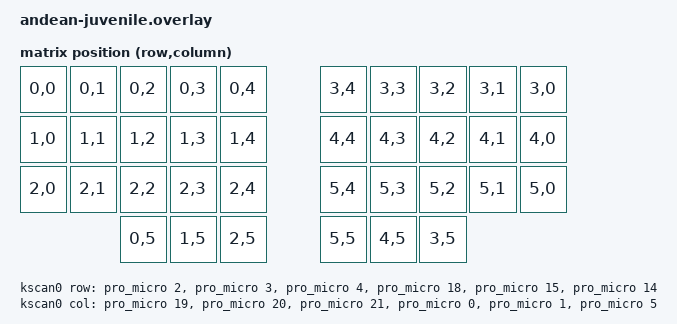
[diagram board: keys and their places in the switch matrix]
/*
 * Copyright (c) 2023 The ZMK Contributors
 *
 * SPDX-License-Identifier: MIT
 */

#include <dt-bindings/zmk/matrix_transform.h>

/*
      col1 col2 col3 col4 col5    |   col5 col4 col3 col2 col1
row1    *    *    *    *    *     |     *    *    *    *    *    row4
row2    *    *    *    *    *     |     *    *    *    *    *    row5
row3    *    *    *    *    *     |     *    *    *    *    *    row6

                row1 row2 row3    |   row6 row5 row4
col6              *    *    *     |     *    *    *


*/

/ {
    chosen {
        zmk,kscan = &kscan0;
        zmk,matrix_transform = &default_transform;
    };

    default_transform: keymap_transform_0 {
        compatible = "zmk,matrix-transform";
        columns = <12>;
        rows = <6>;
        map = <
            RC(0,0) RC(0,1) RC(0,2) RC(0,3) RC(0,4)      RC(3,4) RC(3,3) RC(3,2) RC(3,1) RC(3,0)
            RC(1,0) RC(1,1) RC(1,2) RC(1,3) RC(1,4)      RC(4,4) RC(4,3) RC(4,2) RC(4,1) RC(4,0)
            RC(2,0) RC(2,1) RC(2,2) RC(2,3) RC(2,4)      RC(5,4) RC(5,3) RC(5,2) RC(5,1) RC(5,0)
                            RC(0,5) RC(1,5) RC(2,5)      RC(5,5) RC(4,5) RC(3,5)
        >;
    };

    kscan0: kscan_0 {
        compatible = "zmk,kscan-gpio-matrix";
        diode-direction = "col2row";
/*
 col5  1   .
 col4  0   .
       .   .
       .   .
 row1  2   21 col3
 row2  3   20 col2
 row3  4   19 col1
 col6  5   18 row4
 ----  6   15 row5
 ----  7   14 row6
 ----  8   16 SCL
   CS  9   10 SDA
*/

        col-gpios
            = <&pro_micro 19 GPIO_ACTIVE_HIGH>
            , <&pro_micro 20 GPIO_ACTIVE_HIGH>
            , <&pro_micro 21 GPIO_ACTIVE_HIGH>
            , <&pro_micro  0 GPIO_ACTIVE_HIGH>
            , <&pro_micro  1 GPIO_ACTIVE_HIGH>
            , <&pro_micro  5 GPIO_ACTIVE_HIGH>
            ;

        row-gpios
            = <&pro_micro  2 (GPIO_ACTIVE_HIGH | GPIO_PULL_DOWN)>
            , <&pro_micro  3 (GPIO_ACTIVE_HIGH | GPIO_PULL_DOWN)>
            , <&pro_micro  4 (GPIO_ACTIVE_HIGH | GPIO_PULL_DOWN)>
            , <&pro_micro 18 (GPIO_ACTIVE_HIGH | GPIO_PULL_DOWN)>
            , <&pro_micro 15 (GPIO_ACTIVE_HIGH | GPIO_PULL_DOWN)>
            , <&pro_micro 14 (GPIO_ACTIVE_HIGH | GPIO_PULL_DOWN)>
            ;
    };
};
